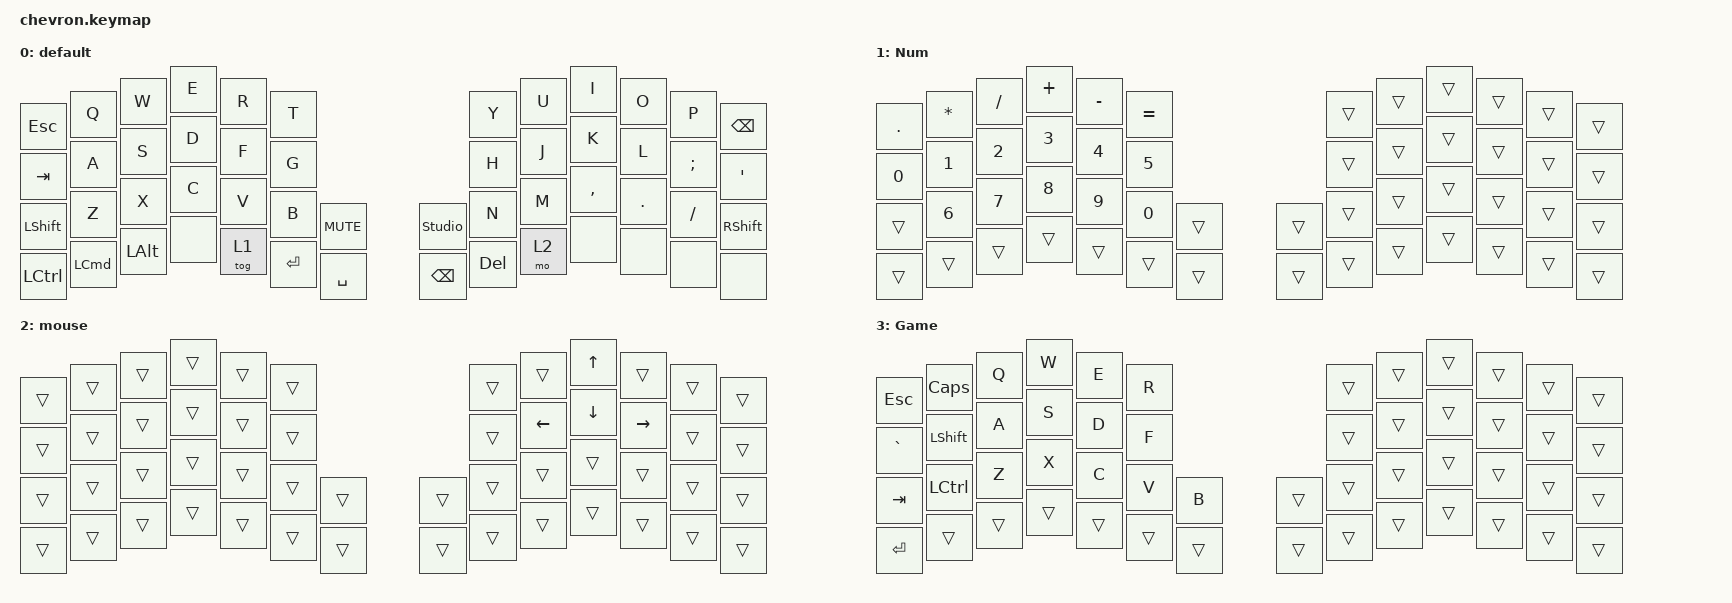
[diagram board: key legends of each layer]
#include <behaviors.dtsi>
#include <dt-bindings/zmk/keys.h>

/ {
    keymap {
        compatible = "zmk,keymap";

        default_layer {
            display-name = "default";

            // ------------------------------------------------------------------------------------------------------------
            // |  ESC  |  Q  |  W  |  E   |  R   |  T   |                   |  Y   |  U    |  I    |  O   |   P   | BKSPC |
            // |  TAB  |  A  |  S  |  D   |  F   |  G   |                   |  H   |  J    |  K    |  L   |   ;   |   '   |
            // | SHIFT |  Z  |  X  |  C   |  V   |  B   |  MUTE  |  |       |  N   |  M    |  ,    |  .   |   /   | SHIFT |
            //               | GUI | ALT  | CTRL | LOWER|  ENTER |  | SPACE | RAISE| CTRL  | ALT   | GUI  |

            bindings = <
&kp ESC    &kp Q     &kp W     &kp E  &kp R   &kp T                                  &kp Y    &kp U  &kp I      &kp O    &kp P     &kp BSPC
&kp TAB    &kp A     &kp S     &kp D  &kp F   &kp G                                  &kp H    &kp J  &kp K      &kp L    &kp SEMI  &kp SQT
&kp LSHFT  &kp Z     &kp X     &kp C  &kp V   &kp B    &kp C_MUTE    &studio_unlock  &kp N    &kp M  &kp COMMA  &kp DOT  &kp FSLH  &kp RSHFT
&kp LCTRL  &kp LCMD  &kp LALT  &none  &tog 1  &kp RET  &kp SPACE     &kp BSPC        &kp DEL  &mo 2  &none      &none    &none     &none
            >;
        };

        Num {
            bindings = <
&kp DOT  &kp STAR  &kp FSLH  &kp PLUS  &kp MINUS  &kp EQUAL                    &trans  &trans  &trans  &trans  &trans  &trans
&kp N0   &kp N1    &kp N2    &kp N3    &kp N4     &kp N5                       &trans  &trans  &trans  &trans  &trans  &trans
&trans   &kp N6    &kp N7    &kp N8    &kp N9     &kp N0     &trans    &trans  &trans  &trans  &trans  &trans  &trans  &trans
&trans   &trans    &trans    &trans    &trans     &trans     &trans    &trans  &trans  &trans  &trans  &trans  &trans  &trans
            >;
        };

        mouse {
            bindings = <
&trans  &trans  &trans  &trans  &trans  &trans                    &trans  &trans    &kp UP    &trans     &trans  &trans
&trans  &trans  &trans  &trans  &trans  &trans                    &trans  &kp LEFT  &kp DOWN  &kp RIGHT  &trans  &trans
&trans  &trans  &trans  &trans  &trans  &trans  &trans    &trans  &trans  &trans    &trans    &trans     &trans  &trans
&trans  &trans  &trans  &trans  &trans  &trans  &trans    &trans  &trans  &trans    &trans    &trans     &trans  &trans
            >;
        };

        Game {
            bindings = <
&kp ESC    &kp CAPS   &kp Q   &kp W   &kp E   &kp R                     &trans  &trans  &trans  &trans  &trans  &trans
&kp GRAVE  &kp LSHFT  &kp A   &kp S   &kp D   &kp F                     &trans  &trans  &trans  &trans  &trans  &trans
&kp TAB    &kp LCTRL  &kp Z   &kp X   &kp C   &kp V   &kp B     &trans  &trans  &trans  &trans  &trans  &trans  &trans
&kp ENTER  &trans     &trans  &trans  &trans  &trans  &trans    &trans  &trans  &trans  &trans  &trans  &trans  &trans
            >;
        };
    };
};
